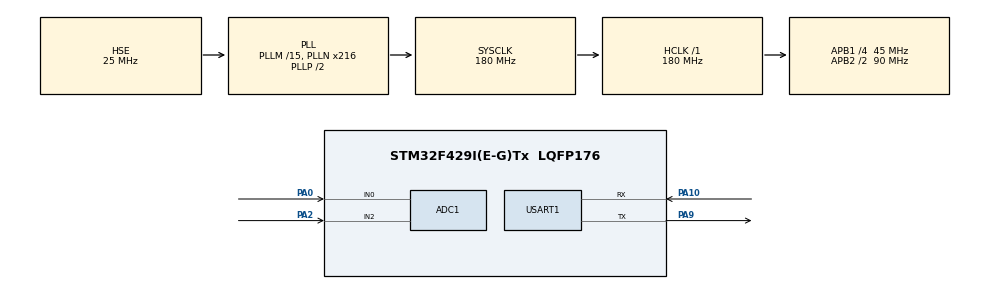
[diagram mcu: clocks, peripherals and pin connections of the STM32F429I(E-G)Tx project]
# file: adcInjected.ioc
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ADC1.Channel-0\#ChannelRegularConversion=ADC_CHANNEL_0
ADC1.Channel-1\#ChannelInjectedConversion=ADC_CHANNEL_2
ADC1.ContinuousConvMode=ENABLE
ADC1.InjNumberOfConversion=1
ADC1.InjectedConvMode=Discontinuous
ADC1.InjectedOffset-1\#ChannelInjectedConversion=0
ADC1.InjectedRank-1\#ChannelInjectedConversion=1
ADC1.NbrOfConversionFlag=1
ADC1.Rank-0\#ChannelRegularConversion=1
ADC1.SamplingTime-0\#ChannelRegularConversion=ADC_SAMPLETIME_84CYCLES
ADC1.SamplingTime-1\#ChannelInjectedConversion=ADC_SAMPLETIME_84CYCLES
ADC1.master=1
Mcu.Family=STM32F4
Mcu.Name=STM32F429I(E-G)Tx
Mcu.Package=LQFP176
NVIC.ADC_IRQn=true\:0\:0\:false\:false\:true\:true\:true\:true
NVIC.PriorityGroup=NVIC_PRIORITYGROUP_4
PA0/WKUP.Signal=ADCx_IN0
PA10.Mode=Asynchronous
PA10.Signal=USART1_RX
PA13.Mode=Serial_Wire
PA13.Signal=SYS_JTMS-SWDIO
PA14.Mode=Serial_Wire
PA14.Signal=SYS_JTCK-SWCLK
PA2.Signal=ADCx_IN2
PA9.Mode=Asynchronous
PA9.Signal=USART1_TX
PH0/OSC_IN.Mode=HSE-External-Oscillator
PH0/OSC_IN.Signal=RCC_OSC_IN
PH1/OSC_OUT.Mode=HSE-External-Oscillator
PH1/OSC_OUT.Signal=RCC_OSC_OUT
ProjectManager.HeapSize=0x200
ProjectManager.StackSize=0x400
ProjectManager.TargetToolchain=MDK-ARM V5
RCC.48MHZClocksFreq_Value=90000000
RCC.AHBFreq_Value=180000000
RCC.APB1CLKDivider=RCC_HCLK_DIV4
RCC.APB1Freq_Value=45000000
RCC.APB1TimFreq_Value=90000000
RCC.APB2CLKDivider=RCC_HCLK_DIV2
RCC.APB2Freq_Value=90000000
RCC.APB2TimFreq_Value=180000000
RCC.CortexFreq_Value=180000000
RCC.HCLKFreq_Value=180000000
RCC.HSE_VALUE=25000000
RCC.HSI_VALUE=16000000
RCC.LSE_VALUE=32768
RCC.PLLM=15
RCC.PLLN=216
RCC.PLLSourceVirtual=RCC_PLLSOURCE_HSE
RCC.SYSCLKFreq_VALUE=180000000
RCC.SYSCLKSource=RCC_SYSCLKSOURCE_PLLCLK
RCC.VCOOutputFreq_Value=360000000
SH.ADCx_IN0.0=ADC1_IN0,IN0
SH.ADCx_IN2.0=ADC1_IN2,IN2
USART1.VirtualMode=VM_ASYNC
board=custom

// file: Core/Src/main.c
/* USER CODE BEGIN Header */
/**
  ******************************************************************************
  * @file           : main.c
  * @brief          : Main program body
  ******************************************************************************
  * @attention
  *
  * Copyright (c) 2025 STMicroelectronics.
  * All rights reserved.
  *
  * This software is licensed under terms that can be found in the LICENSE file
  * in the root directory of this software component.
  * If no LICENSE file comes with this software, it is provided AS-IS.
  *
  ******************************************************************************
  */
/* USER CODE END Header */
#include "main.h"
#include "adc.h"
#include "usart.h"
#include "gpio.h"

/* USER CODE BEGIN Includes */
#include "adc_injected.h"
#include <stdio.h>
/* USER CODE END Includes */

void SystemClock_Config(void);

/* USER CODE BEGIN 0 */
int fputc(int ch, FILE *f)
{
    HAL_UART_Transmit(&huart1, (uint8_t *)&ch, 1, 10);
    return ch;
}
/* USER CODE END 0 */

int main(void)
{

  /* MCU Configuration--------------------------------------------------------*/

  /* Reset of all peripherals, Initializes the Flash interface and the Systick. */
  HAL_Init();

  /* Configure the system clock */
  SystemClock_Config();

  /* Initialize all configured peripherals */
  MX_GPIO_Init();
  MX_ADC1_Init();
  MX_USART1_UART_Init();
  /* USER CODE BEGIN 2 */
  ADC_Inj_Init(&hadc1);
	/* 启动规则通道连续转换 */
  ADC_Inj_StartRegular();
  /* USER CODE END 2 */

  /* Infinite loop */
  while (1)
  {

    /* USER CODE BEGIN 3 */
		/* 每秒触发一次注入通道 (打断规则通道) */
		ADC_Inj_TriggerInjected();

		/* 等待注入转换完成 */
		while (!ADC_Inj_IsInjectedReady());

		/* 读取结果 */
		ADC_Injected_Result_t result;
		ADC_Inj_GetResult(&result);

		printf("[%lu] Regular(PA0): %4d (%.3fV) | Injected(PA2): %4d (%.3fV)\r\n",
					 (unsigned int long)ADC_Inj_GetTriggerCount(),
					 result.regular_raw, result.regular_voltage,
					 result.injected_raw, result.injected_voltage);

		HAL_Delay(1000);
  }
  /* USER CODE END 3 */
}

void SystemClock_Config(void)
{
  RCC_OscInitTypeDef RCC_OscInitStruct = {0};
  RCC_ClkInitTypeDef RCC_ClkInitStruct = {0};

  /** Configure the main internal regulator output voltage
  */
  __HAL_RCC_PWR_CLK_ENABLE();
  __HAL_PWR_VOLTAGESCALING_CONFIG(PWR_REGULATOR_VOLTAGE_SCALE1);

  /** Initializes the RCC Oscillators according to the specified parameters
  * in the RCC_OscInitTypeDef structure.
  */
  RCC_OscInitStruct.OscillatorType = RCC_OSCILLATORTYPE_HSE;
  RCC_OscInitStruct.HSEState = RCC_HSE_ON;
  RCC_OscInitStruct.PLL.PLLState = RCC_PLL_ON;
  RCC_OscInitStruct.PLL.PLLSource = RCC_PLLSOURCE_HSE;
  RCC_OscInitStruct.PLL.PLLM = 15;
  RCC_OscInitStruct.PLL.PLLN = 216;
  RCC_OscInitStruct.PLL.PLLP = RCC_PLLP_DIV2;
  RCC_OscInitStruct.PLL.PLLQ = 4;
  if (HAL_RCC_OscConfig(&RCC_OscInitStruct) != HAL_OK)
  {
    Error_Handler();
  }

  /** Activate the Over-Drive mode
  */
  if (HAL_PWREx_EnableOverDrive() != HAL_OK)
  {
    Error_Handler();
  }

  /** Initializes the CPU, AHB and APB buses clocks
  */
  RCC_ClkInitStruct.ClockType = RCC_CLOCKTYPE_HCLK|RCC_CLOCKTYPE_SYSCLK
                              |RCC_CLOCKTYPE_PCLK1|RCC_CLOCKTYPE_PCLK2;
  RCC_ClkInitStruct.SYSCLKSource = RCC_SYSCLKSOURCE_PLLCLK;
  RCC_ClkInitStruct.AHBCLKDivider = RCC_SYSCLK_DIV1;
  RCC_ClkInitStruct.APB1CLKDivider = RCC_HCLK_DIV4;
  RCC_ClkInitStruct.APB2CLKDivider = RCC_HCLK_DIV2;

  if (HAL_RCC_ClockConfig(&RCC_ClkInitStruct, FLASH_LATENCY_5) != HAL_OK)
  {
    Error_Handler();
  }
}

void Error_Handler(void)
{
  __disable_irq();
  while (1)
  {
  }
}
